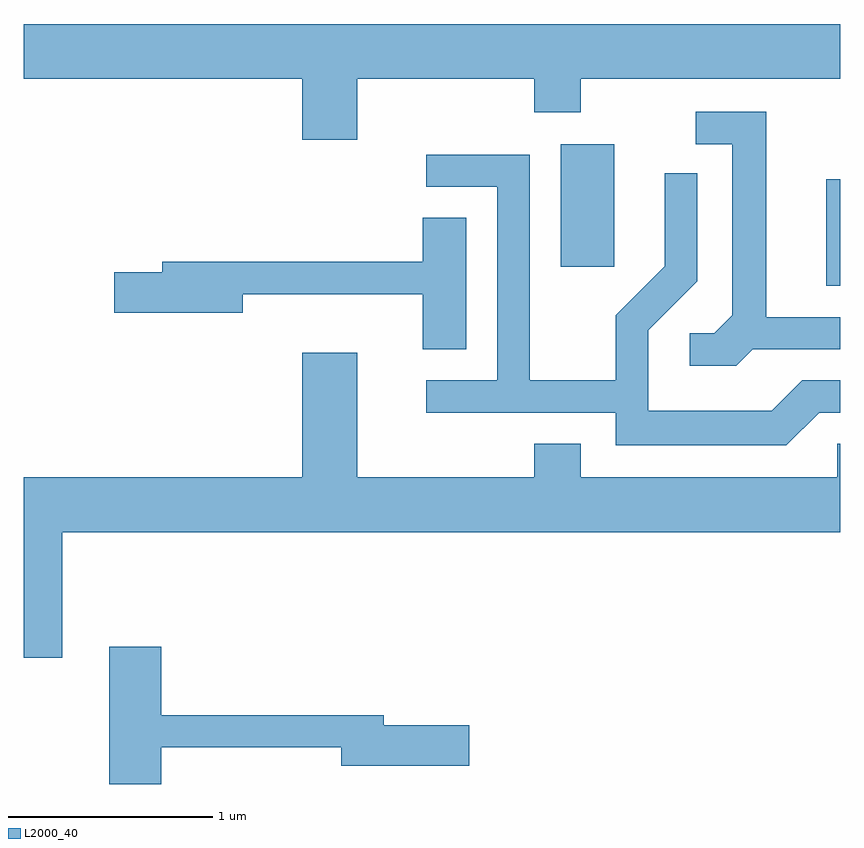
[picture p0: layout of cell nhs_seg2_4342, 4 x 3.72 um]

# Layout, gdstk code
import gdstk
lib = gdstk.Library(unit=1e-6, precision=1e-09)
def R(c, l, rs):  # rectangles x0, y0, x1, y1
    for r in rs: c.add(gdstk.rectangle(r[:2], r[2:], *l))
def P(c, l, *ps):  # polygons
    for p in ps: c.add(gdstk.Polygon(p, *l))
L2000_40 = (2000, 40)

nhs_seg2_4342 = lib.new_cell('nhs_seg2_4342')
R(nhs_seg2_4342, L2000_40, [(317.541,996.241,317.611,996.764), (316.241,996.336,316.504,996.934)])
P(nhs_seg2_4342, L2000_40, [(315.244,997.256),(316.111,997.256),(316.111,997.091),(316.339,997.091),(316.339,997.256),(317.611,997.256),(317.611,997.524),(313.611,997.524),(313.611,997.256),(314.976,997.256),(314.976,996.956),(315.244,996.956)],
  [(317.182,995.931),(317.611,995.931),(317.611,996.089),(317.249,996.089),(317.249,997.094),(316.903,997.094),(316.903,996.936),(317.081,996.936),(317.081,996.097),(316.994,996.009),(316.873,996.009),(316.873,995.851),(317.102,995.851)],
  [(317.507,995.621),(317.611,995.621),(317.611,995.779),(317.424,995.779),(317.274,995.629),(316.669,995.629),(316.669,996.024),(316.909,996.264),(316.909,996.793),(316.751,996.793),(316.751,996.337),(316.511,996.097),(316.511,995.779),(316.089,995.779),(316.089,996.884),(315.583,996.884),(315.583,996.726),(315.931,996.726),(315.931,995.779),(315.583,995.779),(315.583,995.621),(316.511,995.621),(316.511,995.461),(317.347,995.461)],
  [(315.779,996.574),(315.566,996.574),(315.566,996.359),(314.291,996.359),(314.291,996.309),(314.056,996.309),(314.056,996.111),(314.684,996.111),(314.684,996.201),(315.566,996.201),(315.566,995.931),(315.779,995.931)],
  [(313.799,995.036),(317.611,995.036),(317.611,995.469),(317.596,995.469),(317.596,995.304),(316.339,995.304),(316.339,995.469),(316.111,995.469),(316.111,995.304),(315.244,995.304),(315.244,995.914),(314.976,995.914),(314.976,995.304),(313.611,995.304),(313.611,994.421),(313.799,994.421)],
  [(314.284,993.981),(315.166,993.981),(315.166,993.891),(315.794,993.891),(315.794,994.089),(315.374,994.089),(315.374,994.139),(314.284,994.139),(314.284,994.474),(314.031,994.474),(314.031,993.802),(314.284,993.802)])

lib.write_gds('nhs_seg2_4342.gds')
